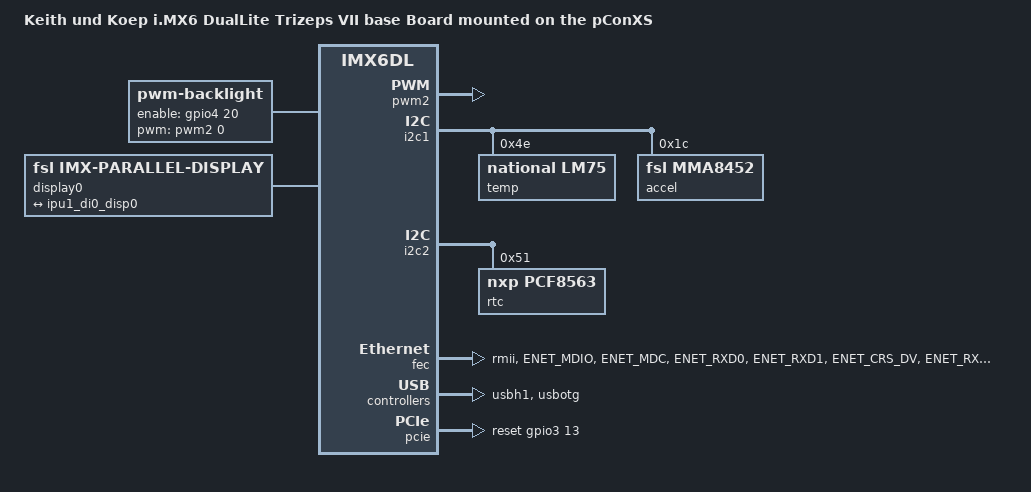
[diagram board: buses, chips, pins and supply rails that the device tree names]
/dts-v1/;
#include "imx6dl-trizeps7.dtsi"

/ {
	model = "Keith und Koep i.MX6 DualLite Trizeps VII base Board mounted on the pConXS";

	backlight {
		compatible = "pwm-backlight";
		pwms = <&pwm2 0 30517 PWM_POLARITY_INVERTED>;
		enable-gpios = <&gpio4 20 0>;
		brightness-levels = <0 4 8 16 32 64 128 255>;
		default-brightness-level = <7>;
		status = "okay";
	};

	soc {
		display0: display@di0 {
			compatible = "fsl,imx-parallel-display";
			interface-pix-fmt = "bgr666";
			pinctrl-names = "default";
			pinctrl-0 = <&pinctrl_ipu1_1>;
			status = "okay";
			display-timings {
				480x800p75 {
					native-mode;
					clock-frequency = <30720000>;
					hactive = <480>;
					vactive = <800>;
					hback-porch = <10>;
					hfront-porch = <8>;
					vback-porch = <2>;
					vfront-porch = <2>;
					hsync-len = <10>;
					vsync-len = <2>;
					vsync-active = <0>;
				};
			};

			port {
				display0_in: endpoint {
					remote-endpoint = <&ipu1_di0_disp0>;
				};
			};
		};
	};
};

&iomuxc {
	pconxs {
		pinctrl_enet_4_rmii: enetgrp-4-rmii {
			fsl,pins = <
				MX6QDL_PAD_ENET_MDIO__ENET_MDIO       0x1b0b0
				MX6QDL_PAD_ENET_MDC__ENET_MDC         0x1b0b0
				MX6QDL_PAD_ENET_RXD0__ENET_RX_DATA0   0x80000000
				MX6QDL_PAD_ENET_RXD1__ENET_RX_DATA1   0x80000000
				MX6QDL_PAD_ENET_CRS_DV__ENET_RX_EN    0x80000000
				MX6QDL_PAD_ENET_RX_ER__ENET_RX_ER     0x80000000
				MX6QDL_PAD_ENET_TX_EN__ENET_TX_EN     0x80000000
				MX6QDL_PAD_ENET_TXD0__ENET_TX_DATA0   0x80000000
				MX6QDL_PAD_ENET_TXD1__ENET_TX_DATA1   0x80000000
				MX6QDL_PAD_RGMII_TX_CTL__RGMII_TX_CTL 0x1b0b0
				MX6QDL_PAD_ENET_REF_CLK__ENET_TX_CLK  0x1b0b0
			>;
		};
	};
};

&pwm2 {
	status = "okay";
};

&i2c1 {
	status = "okay";
	temp: temp@4E {
		compatible = "national,lm75";
		reg = <0x4E>;
		status = "okay";
	};
	accel: accel@1C {
		compatible = "fsl,mma8452";
		reg = <0x1C>;
		status = "okay";
	};
};
&i2c2 {
	rtc: rtc@51 {
		compatible = "nxp,pcf8563";
		reg = <0x51>;
		status = "okay";
	};
};

&fec {
	pinctrl-0 = <&pinctrl_enet_4_rmii>;
	phy-mode = "rmii";
	status = "okay";
};

&usbh1 {
	status = "okay";
};

&usbotg {
	status = "okay";
};

&pcie {
	status = "okay";
	reset-gpio = <&gpio3 13 0>;
	wake-up-gpio = <&gpio6 7 0>;
};
